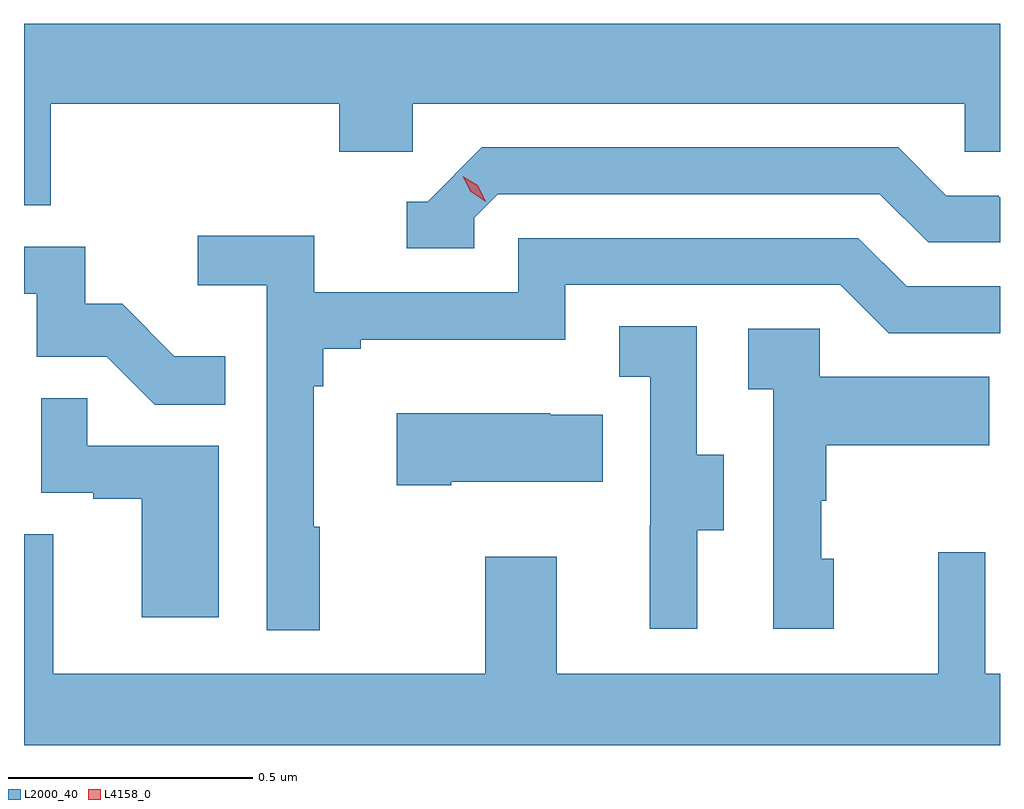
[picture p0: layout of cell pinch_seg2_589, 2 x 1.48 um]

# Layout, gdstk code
import gdstk
lib = gdstk.Library(unit=1e-6, precision=1e-09)
def P(c, l, *ps):  # polygons
    for p in ps: c.add(gdstk.Polygon(p, *l))
L2000_40 = (2000, 40)
L4158_0 = (4158, 0)

pinch_seg2_589 = lib.new_cell('pinch_seg2_589')
P(pinch_seg2_589, L2000_40, [(1080.242,615.668),(1080.833,615.668),(1080.833,615.57),(1080.984,615.57),(1080.984,615.668),(1082.115,615.668),(1082.115,615.57),(1082.187,615.57),(1082.187,615.832),(1080.187,615.832),(1080.187,615.46),(1080.242,615.46)],
  [(1081.11,615.435),(1081.158,615.483),(1081.941,615.483),(1082.04,615.384),(1082.187,615.384),(1082.187,615.477),(1082.184,615.477),(1082.184,615.48),(1082.077,615.48),(1081.978,615.579),(1081.125,615.579),(1081.014,615.468),(1080.971,615.468),(1080.971,615.372),(1081.11,615.372)],
  [(1080.793,614.801),(1080.781,614.801),(1080.781,615.089),(1080.8,615.089),(1080.8,615.166),(1080.877,615.166),(1080.877,615.185),(1081.296,615.185),(1081.296,615.297),(1081.86,615.297),(1081.959,615.198),(1082.187,615.198),(1082.187,615.294),(1081.996,615.294),(1081.897,615.393),(1081.2,615.393),(1081.2,615.282),(1080.782,615.282),(1080.782,615.398),(1080.543,615.398),(1080.543,615.296),(1080.684,615.296),(1080.684,614.589),(1080.793,614.589)],
  [(1080.599,615.151),(1080.495,615.151),(1080.388,615.258),(1080.312,615.258),(1080.312,615.375),(1080.187,615.375),(1080.187,615.279),(1080.213,615.279),(1080.213,615.15),(1080.357,615.15),(1080.455,615.052),(1080.599,615.052)],
  [(1081.567,614.794),(1081.621,614.794),(1081.621,614.949),(1081.566,614.949),(1081.566,615.212),(1081.407,615.212),(1081.407,615.109),(1081.47,615.109),(1081.47,614.805),(1081.469,614.805),(1081.469,614.592),(1081.567,614.592)],
  [(1081.846,614.736),(1081.821,614.736),(1081.821,614.855),(1081.831,614.855),(1081.831,614.969),(1082.165,614.969),(1082.165,615.109),(1081.818,615.109),(1081.818,615.207),(1081.671,615.207),(1081.671,615.083),(1081.722,615.083),(1081.722,614.592),(1081.846,614.592)],
  [(1080.586,614.967),(1080.317,614.967),(1080.317,615.065),(1080.222,615.065),(1080.222,614.871),(1080.329,614.871),(1080.329,614.859),(1080.428,614.859),(1080.428,614.616),(1080.586,614.616)],
  [(1081.063,614.894),(1081.373,614.894),(1081.373,615.031),(1081.265,615.031),(1081.265,615.034),(1080.951,615.034),(1080.951,614.887),(1081.063,614.887)],
  [(1082.187,614.5),(1082.157,614.5),(1082.157,614.749),(1082.06,614.749),(1082.06,614.5),(1081.279,614.5),(1081.279,614.74),(1081.132,614.74),(1081.132,614.5),(1080.247,614.5),(1080.247,614.786),(1080.187,614.786),(1080.187,614.354),(1082.187,614.354)])
P(pinch_seg2_589, L4158_0, [(1081.133,615.468),(1081.102,615.488),(1081.086,615.52),(1081.086,615.52),(1081.086,615.52),(1081.117,615.501),(1081.133,615.469),(1081.133,615.468)])

lib.write_gds('pinch_seg2_589.gds')
